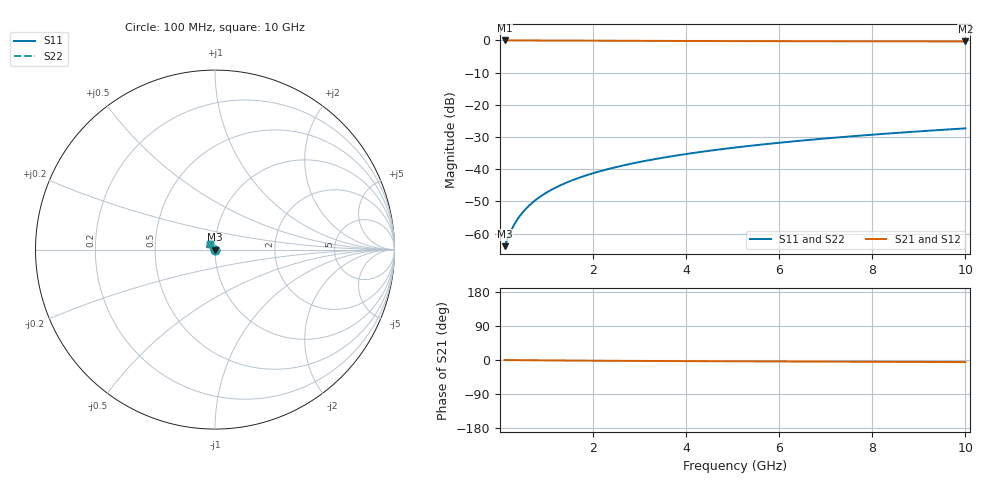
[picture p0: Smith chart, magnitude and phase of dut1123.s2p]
! Touchstone file exported from HFSS 2024.1.0
!  File:  C:/UserFiles/LocalFiles/RDL_TSV_Batchsim/temp_TSV1_1123_1780069255.aedt
!  Generated:  11:51:32 PM May 29, 2026
!  Design:  TSV1
!  Project:  temp_TSV1_1123_1780069255
!  Setup:  Setup1
!  Solution:  Sweep
! Variables:
!  dtsv = 5.33um
!  hbump = 3um
!  htsv = 76.36um
!  lrdl = 252.1521522um
!  p = 40
!  p1 = 58.27um
!  t = 500um
!  trdl = 3um
!  wrdl = 24.89489489um
# GHz S MA R 50.000000
! Terminal data exported
! Port[1] = TSV22_T1
! Port[2] = TSV22_T2
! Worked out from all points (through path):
!   100 points, 100 MHz to 10 GHz, reference 50 ohm
!   highest |S21| = 0.00 dB at 100 MHz (marker M1); lowest = -0.3 dB at 10 GHz (marker M2)
!   lowest |S11| = -63.9 dB at 100 MHz (marker M3), VSWR 1.00, Z = 50 - j0.0448 ohm
!   |S11| at or under -10 dB: start of sweep to end of sweep
!   |S22| runs from -63.9 to -27.3 dB; largest |S21 - S12| = 8.4e-15
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0.1  0.0006361 -44.7  0.9995 -0.1  0.9995 -0.1  0.0006361 -44.7
! Gamma 0 0 0 0
! Port Impedance 50 0 50 0
0.2  0.0009698 -67.0  0.9994 -0.2  0.9994 -0.2  0.0009698 -67.0
0.3  0.001357 -78.9  0.9993 -0.3  0.9993 -0.3  0.001357 -78.9
0.4  0.001765 -86.9  0.9991 -0.4  0.9991 -0.4  0.001765 -86.9
0.5  0.002183 -92.9  0.9989 -0.5  0.9989 -0.5  0.002183 -92.9
0.6  0.002607 -98.0  0.9986 -0.6  0.9986 -0.6  0.002607 -98.0
0.7  0.003034 -102.4  0.9983 -0.7  0.9983 -0.7  0.003034 -102.4
0.9  0.003894 -110.0  0.9976 -0.9  0.9976 -0.9  0.003894 -110.0
1  0.004326 -113.5  0.9972 -1.0  0.9972 -1.0  0.004326 -113.5
1.2  0.00519 -120.1  0.9963 -1.2  0.9963 -1.2  0.00519 -120.1
1.5  0.006485 -129.0  0.9948 -1.4  0.9948 -1.4  0.006485 -129.0
1.8  0.007778 -137.2  0.9932 -1.7  0.9932 -1.7  0.007778 -137.2
2.1  0.009067 -144.9  0.9914 -1.9  0.9914 -1.9  0.009068 -144.9
2.5  0.01078 -154.2  0.989 -2.1  0.989 -2.1  0.01078 -154.2
2.9  0.01249 -162.6  0.9867 -2.4  0.9867 -2.4  0.01249 -162.6
3.4  0.01463 -171.9  0.984 -2.7  0.984 -2.7  0.01463 -171.9
4.2  0.01804 175.4  0.9801 -3.1  0.9801 -3.1  0.01804 175.4
5.1  0.02188 163.8  0.9765 -3.5  0.9765 -3.5  0.02188 163.8
5.9  0.02529 155.5  0.9739 -3.8  0.9739 -3.8  0.02529 155.5
6.7  0.02872 148.5  0.9719 -4.1  0.9719 -4.1  0.02872 148.5
8.4  0.03605 137.1  0.9685 -4.8  0.9685 -4.8  0.03605 137.1
10  0.04301 129.1  0.9661 -5.5  0.9661 -5.5  0.04301 129.1
